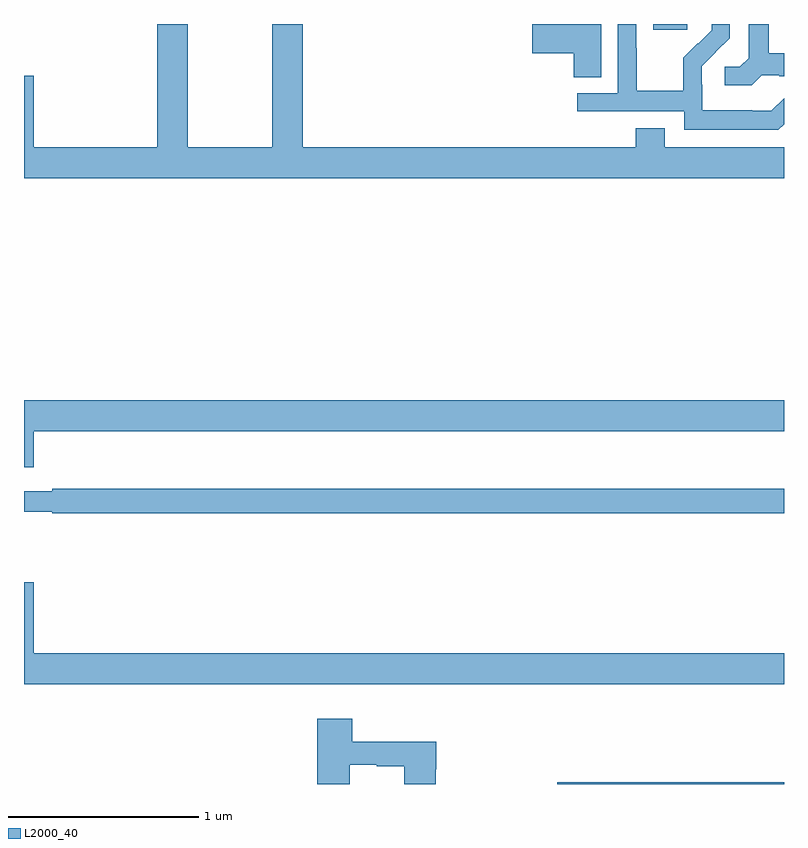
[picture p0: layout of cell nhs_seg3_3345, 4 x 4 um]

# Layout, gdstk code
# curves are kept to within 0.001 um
import gdstk
lib = gdstk.Library(unit=1e-6, precision=1e-09)
def R(c, l, rs):  # rectangles x0, y0, x1, y1
    for r in rs: c.add(gdstk.rectangle(r[:2], r[2:], *l))
def P(c, l, *ps):  # polygons
    for p in ps: c.add(gdstk.Polygon(p, *l))
L2000_40 = (2000, 40)

nhs_seg3_3345 = lib.new_cell('nhs_seg3_3345')
R(nhs_seg3_3345, L2000_40, [(287.807,692.4,289,692.408), (288.311,696.369,288.49,696.4)])
P(nhs_seg3_3345, L2000_40, [(288.037,696.4),(287.676,696.4),(287.676,696.245),(287.894,696.245),(287.894,696.121),(288.037,696.121)],
  [(289,695.752),(288.373,695.752),(288.373,695.851),(288.221,695.851),(288.221,695.752),(286.466,695.752),(286.466,696.4),(286.306,696.4),(286.306,695.752),(285.861,695.752),(285.861,696.4),(285.701,696.4),(285.701,695.752),(285.052,695.752),(285.052,696.127),(285,696.127),(285,695.588),(289,695.588)],
  [(288.882,696.129),(288.976,696.129),(288.976,696.126),(289,696.126),(289,696.245),(288.919,696.245),(288.919,696.4),(288.815,696.4),(288.815,696.221),(288.768,696.174),(288.687,696.174),(288.687,696.077),(288.83,696.077)],
  [(289,695.872),(289,696.01),(288.933,695.943),(288.833,695.943),(288.833,695.947),(288.57,695.947),(288.57,696.081),(288.568,696.081),(288.568,696.178),(288.714,696.326),(288.714,696.4),(288.62,696.4),(288.62,696.368),(288.549,696.297),(288.546,696.3),(288.469,696.223),(288.469,696.049),(288.225,696.049),(288.225,696.272),(288.222,696.272),(288.222,696.4),(288.126,696.4),(288.126,696.036),(287.913,696.036),(287.913,695.94),(288.474,695.94),(288.474,695.843),(288.971,695.843)],
  [(285.052,694.256),(289,694.256),(289,694.42),(285,694.42),(285,694.068),(285.052,694.068)],
  [(289,693.955),(285.148,693.955),(285.148,693.942),(285,693.942),(285,693.834),(285.148,693.834),(285.148,693.826),(289,693.826)],
  [(289,693.088),(285.052,693.088),(285.052,693.463),(285,693.463),(285,692.924),(289,692.924)],
  [(286.714,692.502),(286.857,692.502),(286.857,692.494),(287,692.494),(287,692.4),(287.166,692.4),(287.166,692.477),(287.171,692.477),(287.171,692.623),(286.727,692.623),(286.727,692.743),(286.544,692.743),(286.544,692.4),(286.714,692.4)])

lib.write_gds('nhs_seg3_3345.gds')
